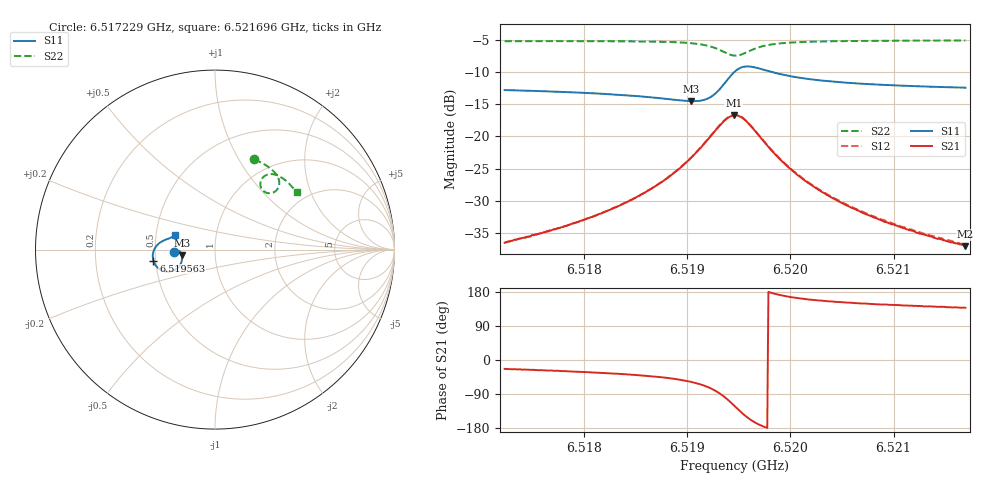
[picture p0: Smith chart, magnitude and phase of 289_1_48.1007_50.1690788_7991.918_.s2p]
#  HZ  S  RI  R  50.00
! Rohde & Schwarz Vector Network Analyzer
! Rohde-Schwarz,ZNB20-2Port,1311601062101988,3.16
! Created: UTC 12/23/2023, 4:03:33 AM
! freq[Hz]  re:S11  im:S11  re:S21  im:S21  re:S12  im:S12  re:S22  im:S22
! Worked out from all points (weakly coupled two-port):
!   401 points, 6.517229 GHz to 6.521696 GHz, reference 50 ohm
!   highest |S21| = -16.73 dB at 6.519452 GHz (marker M1); lowest = -37.0 dB at 6.521696 GHz (marker M2)
!   lowest |S11| = -14.5 dB at 6.519038 GHz (marker M3), VSWR 1.46, Z = 34.3 - j2.28 ohm
!   |S11| at or under -10 dB: start of sweep to 6.519456 GHz; 6.519821 GHz to end of sweep
!   |S22| runs from -7.5 to -5.1 dB; largest |S21 - S12| = 0.0045
!   S11 on the Smith chart (normalised r, x): 6.517229 GHz: 0.63, -0.02; 6.519563 GHz: 0.49, -0.07; 6.521696 GHz: 0.63, +0.10
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6.5172292e9  -0.2287 -0.0124  0.0137 -0.00595  0.0139 -0.00552  0.2195 0.5029
6.517676e9  -0.2231 -0.0062  0.0164 -0.00869  0.0167 -0.00803  0.2523 0.4876
6.5179775e9  -0.2183 -0.00332  0.0189 -0.0117  0.0194 -0.011  0.2747 0.4753
6.5183795e9  -0.2096 -0.00221  0.0239 -0.0182  0.0244 -0.0175  0.3049 0.4552
6.5187257e9  -0.1983 -0.00809  0.0303 -0.0303  0.0314 -0.0294  0.332 0.4307
6.5188933e9  -0.191 -0.017  0.0341 -0.0414  0.0356 -0.0407  0.3451 0.4135
6.5190385e9  -0.1849 -0.0321  0.0363 -0.0577  0.0383 -0.057  0.3548 0.3929
6.5191501e9  -0.1835 -0.0526  0.0342 -0.078  0.0366 -0.0773  0.3582 0.3703
6.5192395e9  -0.1901 -0.0775  0.0242 -0.1003  0.0275 -0.1004  0.3535 0.347
6.5193735e9  -0.2376 -0.119  -0.0243 -0.1332  -0.0204 -0.135  0.316 0.3151
6.5194517e9  -0.291 -0.1179  -0.072 -0.1267  -0.069 -0.1297  0.2783 0.3205
6.5194628e9  -0.2986 -0.1147  -0.0783 -0.1228  -0.0755 -0.1263  0.2734 0.3238
6.5195075e9  -0.325 -0.0949  -0.0996 -0.1028  -0.0976 -0.1063  0.2584 0.3411
6.5195633e9  -0.3434 -0.0616  -0.1123 -0.0718  -0.1111 -0.0755  0.2525 0.3671
6.519675e9  -0.3405 -0.00419  -0.1034 -0.0227  -0.1036 -0.0259  0.2699 0.4048
6.5197979e9  -0.3187 0.0286  -0.0809 0.00179  -0.0817 -0.000537  0.2985 0.4195
6.5199877e9  -0.2908 0.0484  -0.0554 0.013  -0.0564 0.0116  0.3324 0.4186
6.5202111e9  -0.2708 0.057  -0.0387 0.0151  -0.0395 0.014  0.3596 0.4081
6.5205238e9  -0.2542 0.063  -0.0263 0.0139  -0.0269 0.0134  0.3869 0.3902
6.5209593e9  -0.2405 0.0693  -0.0174 0.0119  -0.0181 0.0116  0.4161 0.3641
6.5213055e9  -0.2327 0.074  -0.0134 0.0107  -0.014 0.0105  0.4357 0.343
6.5216964e9  -0.2254 0.0792  -0.0104 0.00945  -0.0109 0.00937  0.4554 0.3188
